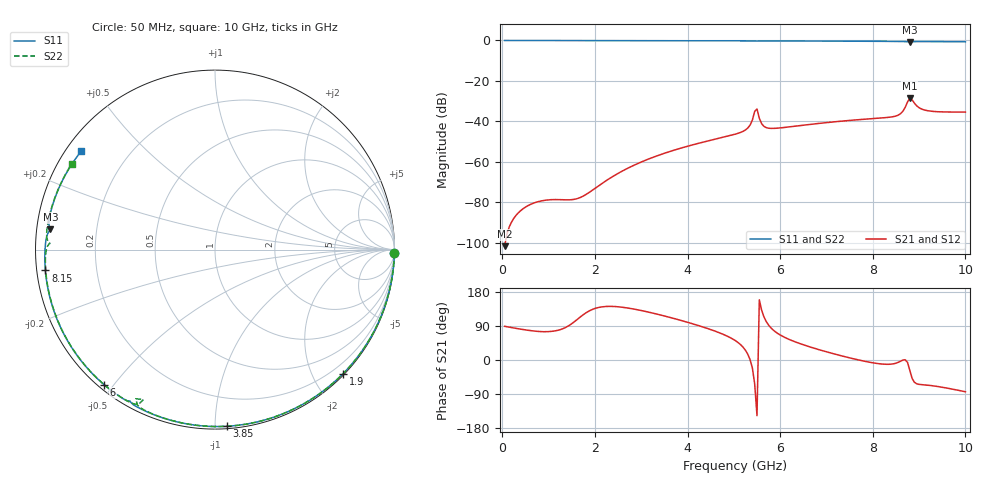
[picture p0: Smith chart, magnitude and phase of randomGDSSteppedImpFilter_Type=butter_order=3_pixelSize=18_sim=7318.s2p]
! freq	dB(S11)	phase(S11)	dB(S12)	phase(S12)
!  dB(S21)	phase(S21)	dB(S22)	phase(S22)
!S-par simulation data
#  GHz  S  DB  R 50
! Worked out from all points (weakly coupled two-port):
!   200 points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, 50 MHz to 10 GHz, reference 50 ohm
!   highest |S21| = -28.58 dB at 8.8 GHz (marker M1); lowest = -101.6 dB at 50 MHz (marker M2)
!   lowest |S11| = -0.7 dB at 8.8 GHz (marker M3), VSWR 25.13, Z = 2 + j3.04 ohm
!   |S11| at or under -10 dB: nowhere
!   |S22| runs from -0.7 to 0.0 dB; largest |S21 - S12| = 0
!   S11 on the Smith chart (normalised r, x): 50 MHz: 0, -96; 1.9 GHz: 0.02, -2.47; 3.85 GHz: 0.01, -1.07; 6 GHz: 0.02, -0.47; 8.15 GHz: 0.02, -0.06; 10 GHz: 0.04, +0.33
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0.05  -0.00 -1.2  -101.65 88.9  -101.65 88.9  -0.00 -1.2
1.5  -0.04 -35.0  -78.67 95.8  -78.67 95.8  -0.04 -34.3
1.75  -0.05 -40.7  -76.87 119.6  -76.87 119.6  -0.05 -39.9
1.9  -0.06 -44.1  -74.73 130.9  -74.73 130.9  -0.06 -43.2
2.6  -0.08 -59.6  -64.42 139.1  -64.42 139.1  -0.08 -58.4
3.4  -0.10 -76.8  -56.54 119.3  -56.54 119.3  -0.10 -75.3
3.85  -0.12 -86.2  -53.24 104.7  -53.24 104.7  -0.12 -84.5
5.05  -0.17 -110.6  -46.19 49.7  -46.19 49.7  -0.17 -108.6
5.3  -0.19 -115.7  -43.30 15.6  -43.30 15.6  -0.20 -113.9
5.45  -0.25 -118.9  -35.04 -63.0  -35.04 -63.0  -0.53 -118.0
5.5  -0.29 -119.3  -33.86 -146.9  -33.86 -146.9  -0.67 -115.5
5.55  -0.23 -120.2  -38.43 158.9  -38.43 158.9  -0.33 -116.3
5.65  -0.21 -122.3  -42.45 113.8  -42.45 113.8  -0.23 -119.1
6  -0.23 -129.3  -43.22 66.1  -43.22 66.1  -0.23 -126.3
6.7  -0.28 -143.2  -41.34 32.4  -41.34 32.4  -0.27 -140.0
8.15  -0.43 -173.0  -38.36 -10.1  -38.36 -10.1  -0.42 -169.0
8.35  -0.45 -177.4  -37.96 -11.3  -37.96 -11.3  -0.44 -173.3
8.6  -0.51 176.9  -36.17 -3.2  -36.17 -3.2  -0.51 -178.8
8.8  -0.69 173.0  -28.58 -27.2  -28.58 -27.2  -0.72 177.9
9  -0.54 168.7  -33.22 -64.3  -33.22 -64.3  -0.51 173.5
9.15  -0.55 165.0  -34.55 -66.1  -34.55 -66.1  -0.52 169.9
10  -0.67 143.7  -35.41 -83.8  -35.41 -83.8  -0.63 149.2
